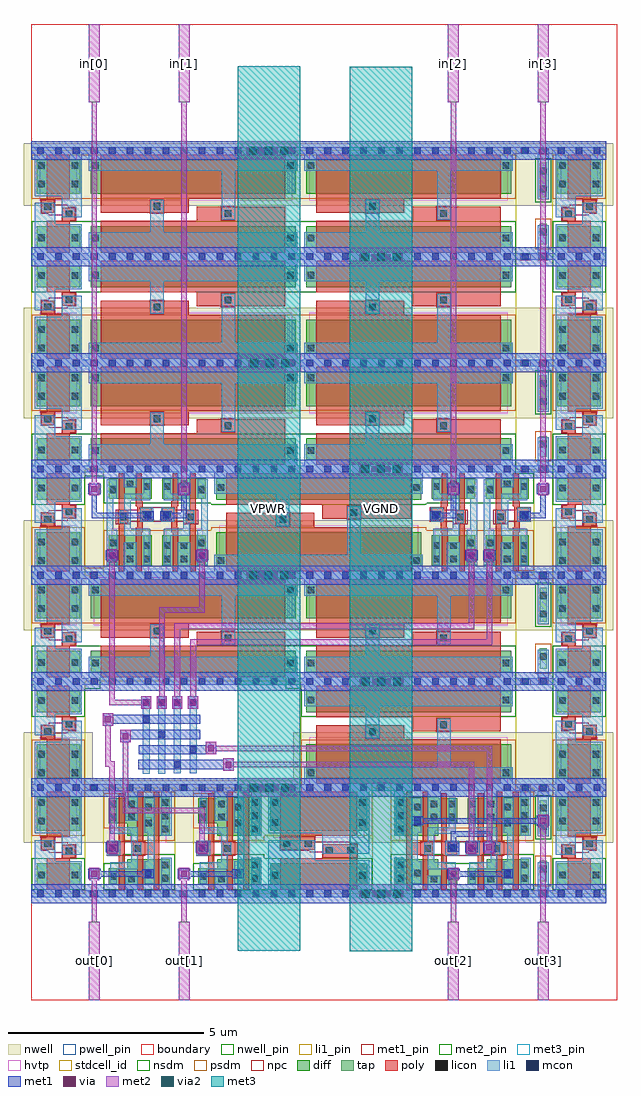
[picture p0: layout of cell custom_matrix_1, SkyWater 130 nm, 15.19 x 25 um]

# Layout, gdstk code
from math import pi, radians
import gdstk
lib = gdstk.Library(unit=1e-6, precision=1e-09)
def R(c, l, rs):  # rectangles x0, y0, x1, y1
    for r in rs: c.add(gdstk.rectangle(r[:2], r[2:], *l))
def A(c, l, x, y, w, h, nx, ny, dx, dy):  # array of equal rectangles
    R(c, l, [(x+i*dx, y+j*dy, x+i*dx+w, y+j*dy+h) for i in range(nx) for j in range(ny)])
nwell_pin = (64, 16)
nwell = (64, 20)
diff = (65, 20)
tap = (65, 44)
poly = (66, 20)
licon = (66, 44)
li1_pin = (67, 16)
li1 = (67, 20)
mcon = (67, 44)
met1_pin = (68, 16)
met1 = (68, 20)
via = (68, 44)
met2_pin = (69, 16)
met2 = (69, 20)
via2 = (69, 44)
met3_pin = (70, 16)
met3 = (70, 20)
hvtp = (78, 44)
stdcell_id = (81, 4)
nsdm = (93, 44)
psdm = (94, 20)
npc = (95, 20)
pwell_pin = (122, 16)
boundary = (235, 4)

sky130_fd_sc_hd__decap_3 = lib.new_cell('sky130_fd_sc_hd__decap_3')
R(sky130_fd_sc_hd__decap_3, nwell_pin, [(0.145,2.635,0.315,2.805)])
R(sky130_fd_sc_hd__decap_3, nwell, [(-0.19,1.305,1.57,2.91)])
R(sky130_fd_sc_hd__decap_3, diff, [(0.135,0.235,1.245,0.785), (0.135,1.615,1.245,2.485)])
R(sky130_fd_sc_hd__decap_3, poly, [(0.395,0.105,0.985,0.915), (0.795,0.915,0.985,0.925), (0.795,0.925,1.125,1.255), (0.255,1.125,0.585,1.455), (0.395,1.455,0.585,1.465), (0.395,1.465,0.985,2.615)])
R(sky130_fd_sc_hd__decap_3, licon, [(0.175,0.4,0.345,0.57), (1.035,0.4,1.205,0.57), (0.875,1.005,1.045,1.175), (0.335,1.205,0.505,1.375), (0.175,1.78,0.345,1.95), (1.035,1.78,1.205,1.95), (0.175,2.255,0.345,2.425), (1.035,2.255,1.205,2.425)])
R(sky130_fd_sc_hd__decap_3, li1, [(0,-0.085,1.38,0.085), (0.085,0.085,1.295,0.835), (0.085,0.835,0.605,1.375), (0.775,1.005,1.295,1.545), (0.085,1.545,1.295,2.635), (0,2.635,1.38,2.805)])
A(sky130_fd_sc_hd__decap_3, mcon, 0.145, -0.085, 0.17, 0.17, 3, 2, 0.46, 2.72)
R(sky130_fd_sc_hd__decap_3, met1_pin, [(0.145,-0.085,0.315,0.085), (0.145,2.635,0.315,2.805)])
R(sky130_fd_sc_hd__decap_3, met1, [(0,-0.24,1.38,0.24), (0,2.48,1.38,2.96)])
R(sky130_fd_sc_hd__decap_3, hvtp, [(0.215,1.435,1.165,2.665)])
R(sky130_fd_sc_hd__decap_3, stdcell_id, [(0,0,1.38,2.72)])
R(sky130_fd_sc_hd__decap_3, nsdm, [(0.01,0.11,1.37,0.91)])
R(sky130_fd_sc_hd__decap_3, psdm, [(0.01,1.49,1.37,2.61)])
R(sky130_fd_sc_hd__decap_3, npc, [(0.775,0.905,1.145,1.055), (0.445,1.055,1.145,1.105), (0.235,1.105,1.145,1.275), (0.235,1.275,0.935,1.325), (0.235,1.325,0.605,1.475)])
R(sky130_fd_sc_hd__decap_3, pwell_pin, [(0.145,-0.085,0.315,0.085)])
R(sky130_fd_sc_hd__decap_3, boundary, [(0,0,1.38,2.72)])
sky130_fd_sc_hd__decap_3.add(gdstk.Label('VPWR', (0.23,2.72), layer=68, texttype=5))
sky130_fd_sc_hd__decap_3.add(gdstk.Label('VGND', (0.23,0), layer=68, texttype=5))
sky130_fd_sc_hd__decap_3.add(gdstk.Label('VPB', (0.23,2.72), layer=64, texttype=5))
sky130_fd_sc_hd__decap_3.add(gdstk.Label('VNB', (0.23,0), layer=64, texttype=59))

sky130_fd_sc_hd__buf_2 = lib.new_cell('sky130_fd_sc_hd__buf_2')
R(sky130_fd_sc_hd__buf_2, nwell_pin, [(0.145,2.635,0.315,2.805)])
R(sky130_fd_sc_hd__buf_2, nwell, [(-0.19,1.305,2.03,2.91)])
R(sky130_fd_sc_hd__buf_2, diff, [(0.135,0.235,1.705,0.655), (0.62,0.655,1.705,0.885), (0.62,1.485,1.705,1.805), (0.135,1.805,1.705,2.445), (0.62,2.445,1.705,2.485)])
R(sky130_fd_sc_hd__buf_2, poly, [(0.395,0.105,0.545,0.995), (0.87,0.105,1.02,0.995), (1.29,0.105,1.44,0.995), (0.135,0.995,0.545,1.325), (0.755,0.995,1.44,1.325), (0.395,1.325,0.545,2.575), (0.87,1.325,1.02,2.615), (1.29,1.325,1.44,2.615)])
A(sky130_fd_sc_hd__buf_2, licon, 1.49, 1.575, 0.17, 0.17, 1, 3, 0, 0.34)
R(sky130_fd_sc_hd__buf_2, licon, [(0.64,0.295,0.81,0.465), (1.49,0.315,1.66,0.485), (0.175,0.36,0.345,0.53), (1.07,0.445,1.24,0.615), (1.49,0.655,1.66,0.825), (0.185,1.075,0.355,1.245), (0.805,1.075,0.975,1.245), (1.07,1.73,1.24,1.9), (0.175,1.875,0.345,2.045), (0.64,1.875,0.81,2.045), (1.07,2.135,1.24,2.305), (0.175,2.215,0.345,2.385), (0.64,2.215,0.81,2.385)])
R(sky130_fd_sc_hd__buf_2, li1_pin, [(0.145,-0.085,0.315,0.085), (1.06,0.425,1.23,0.595), (0.145,1.105,0.315,1.275), (1.06,1.785,1.23,1.955), (1.06,2.125,1.23,2.295), (0.145,2.635,0.315,2.805)])
R(sky130_fd_sc_hd__buf_2, li1, [(0,-0.085,1.84,0.085), (0.56,0.085,0.89,0.465), (1.49,0.085,1.75,0.925), (0.175,0.255,0.345,0.635), (1.06,0.255,1.315,0.83), (0.175,0.635,0.89,0.805), (0.72,0.805,0.89,0.995), (1.145,0.83,1.315,1.56), (0.085,0.985,0.44,1.355), (0.72,0.995,0.975,1.325), (0.72,1.325,0.89,1.535), (1.49,1.485,1.75,2.635), (0.175,1.535,0.89,1.705), (1.06,1.56,1.315,2.465), (0.175,1.705,0.345,2.465), (0.56,1.875,0.89,2.635), (0,2.635,1.84,2.805)])
A(sky130_fd_sc_hd__buf_2, mcon, 0.145, -0.085, 0.17, 0.17, 4, 2, 0.46, 2.72)
R(sky130_fd_sc_hd__buf_2, met1_pin, [(0.145,-0.085,0.315,0.085), (0.145,2.635,0.315,2.805)])
R(sky130_fd_sc_hd__buf_2, met1, [(0,-0.24,1.84,0.24), (0,2.48,1.84,2.96)])
R(sky130_fd_sc_hd__buf_2, hvtp, [(0.69,1.305,1.62,1.625), (0.215,1.625,1.62,2.625), (0.69,2.625,1.62,2.665)])
R(sky130_fd_sc_hd__buf_2, stdcell_id, [(0,0,1.84,2.72)])
R(sky130_fd_sc_hd__buf_2, nsdm, [(0.01,0.11,1.83,0.78), (0.495,0.78,1.83,1.01)])
R(sky130_fd_sc_hd__buf_2, psdm, [(0.495,1.36,1.83,1.68), (0.01,1.68,1.83,2.57), (0.495,2.57,1.83,2.61)])
R(sky130_fd_sc_hd__buf_2, npc, [(0.085,0.975,1.075,1.345)])
R(sky130_fd_sc_hd__buf_2, pwell_pin, [(0.145,-0.085,0.315,0.085)])
R(sky130_fd_sc_hd__buf_2, boundary, [(0,0,1.84,2.72)])
sky130_fd_sc_hd__buf_2.add(gdstk.Label('VPWR', (0.23,2.72), layer=67, texttype=5))
sky130_fd_sc_hd__buf_2.add(gdstk.Label('VPWR', (0.23,2.72), layer=68, texttype=5))
sky130_fd_sc_hd__buf_2.add(gdstk.Label('VGND', (0.23,0), layer=67, texttype=5))
sky130_fd_sc_hd__buf_2.add(gdstk.Label('VGND', (0.23,0), layer=68, texttype=5))
sky130_fd_sc_hd__buf_2.add(gdstk.Label('X', (1.145,2.21), layer=67, texttype=5))
sky130_fd_sc_hd__buf_2.add(gdstk.Label('X', (1.145,1.87), layer=67, texttype=5))
sky130_fd_sc_hd__buf_2.add(gdstk.Label('X', (1.145,0.51), layer=67, texttype=5))
sky130_fd_sc_hd__buf_2.add(gdstk.Label('A', (0.23,1.19), layer=67, texttype=5))
sky130_fd_sc_hd__buf_2.add(gdstk.Label('VPB', (0.23,2.72), layer=64, texttype=5))
sky130_fd_sc_hd__buf_2.add(gdstk.Label('VNB', (0.23,0), layer=64, texttype=59))

sky130_fd_sc_hd__fill_1 = lib.new_cell('sky130_fd_sc_hd__fill_1')
R(sky130_fd_sc_hd__fill_1, nwell_pin, [(0.155,2.67,0.255,2.755)])
R(sky130_fd_sc_hd__fill_1, nwell, [(-0.19,1.305,0.65,2.91)])
R(sky130_fd_sc_hd__fill_1, li1, [(0,-0.085,0.46,0.085), (0,2.635,0.46,2.805)])
R(sky130_fd_sc_hd__fill_1, mcon, [(0.145,-0.085,0.315,0.085), (0.145,2.635,0.315,2.805)])
R(sky130_fd_sc_hd__fill_1, met1_pin, [(0.11,-0.065,0.29,0.08), (0.11,2.635,0.29,2.785)])
R(sky130_fd_sc_hd__fill_1, met1, [(0,-0.24,0.46,0.24), (0,2.48,0.46,2.96)])
R(sky130_fd_sc_hd__fill_1, pwell_pin, [(0.14,-0.055,0.26,0.055)])
R(sky130_fd_sc_hd__fill_1, boundary, [(0,0,0.46,2.72)])
sky130_fd_sc_hd__fill_1.add(gdstk.Label('VPWR', (0.2,2.71), layer=68, texttype=5))
sky130_fd_sc_hd__fill_1.add(gdstk.Label('VGND', (0.2,0.007), layer=68, texttype=5))
sky130_fd_sc_hd__fill_1.add(gdstk.Label('VPB', (0.205,2.712), layer=64, texttype=5))
sky130_fd_sc_hd__fill_1.add(gdstk.Label('VNB', (0.2,0), layer=64, texttype=59))

sky130_fd_sc_hd__decap_6 = lib.new_cell('sky130_fd_sc_hd__decap_6')
R(sky130_fd_sc_hd__decap_6, nwell_pin, [(0.145,2.635,0.315,2.805)])
R(sky130_fd_sc_hd__decap_6, nwell, [(-0.19,1.305,2.95,2.91)])
R(sky130_fd_sc_hd__decap_6, diff, [(0.135,0.235,2.625,0.785), (0.135,1.615,2.625,2.485)])
R(sky130_fd_sc_hd__decap_6, poly, [(0.395,0.105,2.365,0.915), (1.485,0.915,2.365,1.275), (0.395,1.125,1.275,1.485), (0.395,1.485,2.365,2.615)])
R(sky130_fd_sc_hd__decap_6, licon, [(0.175,0.39,0.345,0.56), (2.415,0.39,2.585,0.56), (1.565,1.025,1.735,1.195), (2.115,1.025,2.285,1.195), (0.475,1.205,0.645,1.375), (1.025,1.205,1.195,1.375), (0.175,1.745,0.345,1.915), (2.415,1.745,2.585,1.915), (0.175,2.255,0.345,2.425), (2.415,2.255,2.585,2.425)])
R(sky130_fd_sc_hd__decap_6, li1, [(0,-0.085,2.76,0.085), (0.085,0.085,2.675,0.855), (0.085,0.855,1.295,1.375), (1.465,1.025,2.675,1.545), (0.085,1.545,2.675,2.635), (0,2.635,2.76,2.805)])
A(sky130_fd_sc_hd__decap_6, mcon, 0.145, -0.085, 0.17, 0.17, 6, 2, 0.46, 2.72)
R(sky130_fd_sc_hd__decap_6, met1_pin, [(0.145,-0.085,0.315,0.085), (0.145,2.635,0.315,2.805)])
R(sky130_fd_sc_hd__decap_6, met1, [(0,-0.24,2.76,0.24), (0,2.48,2.76,2.96)])
R(sky130_fd_sc_hd__decap_6, hvtp, [(0.215,1.435,2.545,2.665)])
R(sky130_fd_sc_hd__decap_6, stdcell_id, [(0,0,2.76,2.72)])
R(sky130_fd_sc_hd__decap_6, nsdm, [(0.01,0.11,2.75,0.91)])
R(sky130_fd_sc_hd__decap_6, psdm, [(0.01,1.49,2.75,2.61)])
R(sky130_fd_sc_hd__decap_6, npc, [(1.465,0.925,2.385,1.065), (1.15,1.065,2.385,1.105), (0.375,1.105,2.385,1.295), (0.375,1.295,2.16,1.335), (0.375,1.335,1.295,1.475)])
R(sky130_fd_sc_hd__decap_6, pwell_pin, [(0.145,-0.085,0.315,0.085)])
R(sky130_fd_sc_hd__decap_6, boundary, [(0,0,2.76,2.72)])
sky130_fd_sc_hd__decap_6.add(gdstk.Label('VPWR', (0.23,2.72), layer=68, texttype=5))
sky130_fd_sc_hd__decap_6.add(gdstk.Label('VGND', (0.23,0), layer=68, texttype=5))
sky130_fd_sc_hd__decap_6.add(gdstk.Label('VPB', (0.23,2.72), layer=64, texttype=5))
sky130_fd_sc_hd__decap_6.add(gdstk.Label('VNB', (0.23,0), layer=64, texttype=59))

sky130_ef_sc_hd__decap_1 = lib.new_cell('sky130_ef_sc_hd__decap_12')
R(sky130_ef_sc_hd__decap_1, nwell_pin, [(0.145,2.635,0.315,2.805)])
R(sky130_ef_sc_hd__decap_1, nwell, [(-0.19,1.305,5.71,2.91)])
R(sky130_ef_sc_hd__decap_1, diff, [(0.135,0.235,5.385,0.785), (0.135,1.615,5.385,2.485)])
R(sky130_ef_sc_hd__decap_1, poly, [(0.395,0.105,5.125,0.915), (2.855,0.915,5.125,1.275), (0.395,1.125,2.645,1.485), (0.395,1.485,5.125,2.615)])
R(sky130_ef_sc_hd__decap_1, licon, [(0.175,0.39,0.345,0.56), (5.175,0.39,5.345,0.56), (3.575,1.025,3.745,1.195), (1.755,1.205,1.925,1.375), (0.175,2.255,0.345,2.425), (5.175,2.255,5.345,2.425)])
R(sky130_ef_sc_hd__decap_1, li1, [(0,-0.085,5.52,0.085), (0.085,0.085,5.43,0.63), (1.67,0.63,2.01,1.46), (3.49,0.95,3.84,2.2), (0.085,2.2,5.43,2.635), (0,2.635,5.52,2.805)])
A(sky130_ef_sc_hd__decap_1, mcon, 0.145, -0.085, 0.17, 0.17, 12, 2, 0.46, 2.72)
R(sky130_ef_sc_hd__decap_1, met1_pin, [(0.145,-0.085,0.315,0.085), (0.145,2.635,0.315,2.805)])
R(sky130_ef_sc_hd__decap_1, met1, [(0,-0.24,5.52,0.24), (0,2.48,5.52,2.96)])
R(sky130_ef_sc_hd__decap_1, hvtp, [(0.215,1.435,5.305,2.665)])
R(sky130_ef_sc_hd__decap_1, stdcell_id, [(0,0,5.52,2.72)])
R(sky130_ef_sc_hd__decap_1, nsdm, [(0.01,0.11,5.51,0.91)])
R(sky130_ef_sc_hd__decap_1, psdm, [(0.01,1.49,5.51,2.61)])
R(sky130_ef_sc_hd__decap_1, npc, [(3.475,0.925,3.845,1.295), (1.655,1.105,2.025,1.475)])
R(sky130_ef_sc_hd__decap_1, pwell_pin, [(0.145,-0.085,0.315,0.085)])
R(sky130_ef_sc_hd__decap_1, boundary, [(0,0,5.52,2.72)])
sky130_ef_sc_hd__decap_1.add(gdstk.Label('VGND', (0.23,0), layer=68, texttype=5))
sky130_ef_sc_hd__decap_1.add(gdstk.Label('VPWR', (0.23,2.72), layer=68, texttype=5))
sky130_ef_sc_hd__decap_1.add(gdstk.Label('VPB', (0.23,2.72), layer=64, texttype=5))
sky130_ef_sc_hd__decap_1.add(gdstk.Label('VNB', (0.23,0), layer=64, texttype=59))

sky130_fd_sc_hd__fill_2 = lib.new_cell('sky130_fd_sc_hd__fill_2')
R(sky130_fd_sc_hd__fill_2, nwell_pin, [(0.14,2.675,0.31,2.765)])
R(sky130_fd_sc_hd__fill_2, nwell, [(-0.19,1.305,1.11,2.91)])
R(sky130_fd_sc_hd__fill_2, li1, [(0,-0.085,0.92,0.085), (0,2.635,0.92,2.805)])
R(sky130_fd_sc_hd__fill_2, mcon, [(0.145,-0.085,0.315,0.085), (0.605,-0.085,0.775,0.085), (0.145,2.635,0.315,2.805), (0.605,2.635,0.775,2.805)])
R(sky130_fd_sc_hd__fill_2, met1_pin, [(0.1,-0.07,0.365,0.09), (0.105,2.65,0.365,2.805)])
R(sky130_fd_sc_hd__fill_2, met1, [(0,-0.24,0.92,0.24), (0,2.48,0.92,2.96)])
R(sky130_fd_sc_hd__fill_2, pwell_pin, [(0.155,-0.05,0.315,0.06)])
R(sky130_fd_sc_hd__fill_2, boundary, [(0,0,0.92,2.72)])
sky130_fd_sc_hd__fill_2.add(gdstk.Label('VGND', (0.232,0.01), layer=68, texttype=5))
sky130_fd_sc_hd__fill_2.add(gdstk.Label('VPWR', (0.235,2.727), layer=68, texttype=5))
sky130_fd_sc_hd__fill_2.add(gdstk.Label('VPB', (0.225,2.72), layer=64, texttype=5))
sky130_fd_sc_hd__fill_2.add(gdstk.Label('VNB', (0.235,0.005), layer=64, texttype=59))

sky130_fd_sc_hd__tapvpwr = lib.new_cell('sky130_fd_sc_hd__tapvpwrvgnd_1')
R(sky130_fd_sc_hd__tapvpwr, nwell, [(-0.19,1.305,0.65,2.91)])
R(sky130_fd_sc_hd__tapvpwr, tap, [(0.145,0.32,0.315,0.845), (0.145,1.525,0.315,2.4)])
R(sky130_fd_sc_hd__tapvpwr, licon, [(0.145,0.555,0.315,0.725), (0.145,1.645,0.315,1.815), (0.145,2.11,0.315,2.28)])
R(sky130_fd_sc_hd__tapvpwr, li1, [(0,-0.085,0.46,0.085), (0.085,0.085,0.375,0.81), (0.085,1.47,0.375,2.635), (0,2.635,0.46,2.805)])
R(sky130_fd_sc_hd__tapvpwr, mcon, [(0.145,-0.085,0.315,0.085), (0.145,2.635,0.315,2.805)])
R(sky130_fd_sc_hd__tapvpwr, met1_pin, [(0.105,-0.09,0.36,0.1), (0.11,2.62,0.375,2.765)])
R(sky130_fd_sc_hd__tapvpwr, met1, [(0,-0.24,0.46,0.24), (0,2.48,0.46,2.96)])
R(sky130_fd_sc_hd__tapvpwr, nsdm, [(0.02,1.4,0.44,2.525)])
R(sky130_fd_sc_hd__tapvpwr, psdm, [(0.02,0.195,0.44,0.97)])
R(sky130_fd_sc_hd__tapvpwr, boundary, [(0,0,0.46,2.72)])
sky130_fd_sc_hd__tapvpwr.add(gdstk.Label('VPWR', (0.242,2.692), layer=68, texttype=5))
sky130_fd_sc_hd__tapvpwr.add(gdstk.Label('VGND', (0.232,0.005), layer=68, texttype=5))

sky130_fd_sc_hd__clkbuf_ = lib.new_cell('sky130_fd_sc_hd__clkbuf_1')
R(sky130_fd_sc_hd__clkbuf_, nwell_pin, [(1.065,2.635,1.235,2.805)])
R(sky130_fd_sc_hd__clkbuf_, nwell, [(-0.19,1.305,1.57,2.91)])
R(sky130_fd_sc_hd__clkbuf_, diff, [(0.135,0.235,1.245,0.755), (0.135,1.695,1.245,2.485)])
R(sky130_fd_sc_hd__clkbuf_, poly, [(0.395,0.105,0.545,1.06), (0.835,0.105,0.985,0.83), (0.835,0.83,1.015,0.95), (0.865,0.95,1.015,0.995), (0.865,0.995,1.245,1.325), (0.375,1.06,0.645,1.39), (0.865,1.325,1.015,1.5), (0.395,1.39,0.545,2.615), (0.835,1.5,1.015,1.62), (0.835,1.62,0.985,2.615)])
A(sky130_fd_sc_hd__clkbuf_, licon, 0.175, 2.215, 0.17, 0.17, 3, 1, 0.43, 0)
R(sky130_fd_sc_hd__clkbuf_, licon, [(0.605,0.295,0.775,0.465), (1.035,0.36,1.205,0.53), (0.175,0.445,0.345,0.615), (1.025,1.075,1.195,1.245), (0.425,1.14,0.595,1.31), (0.175,1.81,0.345,1.98), (0.605,1.875,0.775,2.045), (1.035,1.875,1.205,2.045)])
R(sky130_fd_sc_hd__clkbuf_, li1_pin, [(0.145,0.425,0.315,0.595), (1.065,1.105,1.235,1.275), (0.145,1.785,0.315,1.955), (0.145,2.125,0.315,2.295)])
R(sky130_fd_sc_hd__clkbuf_, li1, [(0,-0.085,1.38,0.085), (0.525,0.085,0.855,0.465), (0.085,0.255,0.345,0.76), (1.035,0.255,1.205,0.635), (0.54,0.635,1.205,0.805), (0.085,0.76,0.255,1.56), (0.54,0.805,0.71,1.06), (0.945,0.985,1.275,1.355), (0.425,1.06,0.71,1.39), (0.54,1.39,0.71,1.535), (0.54,1.535,1.205,1.705), (0.085,1.56,0.355,2.465), (1.035,1.705,1.205,2.465), (0.525,1.875,0.855,2.635), (0,2.635,1.38,2.805)])
A(sky130_fd_sc_hd__clkbuf_, mcon, 0.145, -0.085, 0.17, 0.17, 3, 2, 0.46, 2.72)
R(sky130_fd_sc_hd__clkbuf_, met1_pin, [(1.065,-0.085,1.235,0.085), (1.065,2.635,1.235,2.805)])
R(sky130_fd_sc_hd__clkbuf_, met1, [(0,-0.24,1.38,0.24), (0,2.48,1.38,2.96)])
R(sky130_fd_sc_hd__clkbuf_, hvtp, [(0.215,1.515,1.165,2.665)])
R(sky130_fd_sc_hd__clkbuf_, stdcell_id, [(0,0,1.38,2.72)])
R(sky130_fd_sc_hd__clkbuf_, nsdm, [(0.01,0.11,1.37,0.88)])
R(sky130_fd_sc_hd__clkbuf_, psdm, [(0.01,1.57,1.37,2.61)])
R(sky130_fd_sc_hd__clkbuf_, npc, [(0.925,0.975,1.295,1.04), (0.325,1.04,1.295,1.345), (0.325,1.345,0.695,1.41)])
R(sky130_fd_sc_hd__clkbuf_, pwell_pin, [(1.065,-0.085,1.235,0.085)])
R(sky130_fd_sc_hd__clkbuf_, boundary, [(0,0,1.38,2.72)])
sky130_fd_sc_hd__clkbuf_.add(gdstk.Label('VGND', (1.15,0), layer=68, texttype=5))
sky130_fd_sc_hd__clkbuf_.add(gdstk.Label('VPWR', (1.15,2.72), layer=68, texttype=5))
sky130_fd_sc_hd__clkbuf_.add(gdstk.Label('X', (0.23,2.21), layer=67, texttype=5))
sky130_fd_sc_hd__clkbuf_.add(gdstk.Label('X', (0.23,1.87), layer=67, texttype=5))
sky130_fd_sc_hd__clkbuf_.add(gdstk.Label('X', (0.23,0.51), layer=67, texttype=5))
sky130_fd_sc_hd__clkbuf_.add(gdstk.Label('A', (1.15,1.19), layer=67, texttype=5))
sky130_fd_sc_hd__clkbuf_.add(gdstk.Label('VPB', (1.15,2.72), layer=64, texttype=5))
sky130_fd_sc_hd__clkbuf_.add(gdstk.Label('VNB', (1.15,0), layer=64, texttype=59))

custom_matrix_1 = lib.new_cell('custom_matrix_1')
R(custom_matrix_1, li1, [(2.905,3.145,3.075,3.315), (12.105,3.145,12.275,3.315), (1.985,3.825,2.155,3.995), (4.285,3.825,4.455,3.995), (10.725,3.825,10.895,3.995), (11.185,3.825,11.355,3.995), (9.805,4.505,9.975,4.675), (2.85,5.8,3.03,7.71), (3.25,5.8,3.43,7.71), (3.65,5.81,3.83,7.71), (4.05,5.81,4.23,7.71), (1.985,11.305,2.155,11.475), (4.285,11.305,4.455,11.475), (11.185,11.305,11.355,11.475), (11.645,11.305,11.815,11.475), (2.905,12.325,3.075,12.495), (3.365,12.325,3.535,12.495), (10.265,12.325,10.435,12.495), (12.565,12.325,12.735,12.495)])
A(custom_matrix_1, mcon, 2.855, 7.535, 0.17, 0.17, 4, 1, 0.4, 0)
R(custom_matrix_1, mcon, [(2.905,3.145,3.075,3.315), (12.105,3.145,12.275,3.315), (1.985,3.825,2.155,3.995), (4.285,3.825,4.455,3.995), (10.725,3.825,10.895,3.995), (11.185,3.825,11.355,3.995), (9.805,4.505,9.975,4.675), (3.655,5.945,3.825,6.115), (4.055,6.325,4.225,6.495), (3.255,6.715,3.425,6.885), (2.855,7.105,3.025,7.275), (1.985,11.305,2.155,11.475), (4.285,11.305,4.455,11.475), (11.185,11.305,11.355,11.475), (11.645,11.305,11.815,11.475), (2.905,12.325,3.075,12.495), (3.365,12.325,3.535,12.495), (10.265,12.325,10.435,12.495), (12.565,12.325,12.735,12.495)])
A(custom_matrix_1, met1, 0, 2.48, 14.72, 0.48, 1, 8, 0, 2.72)
A(custom_matrix_1, met1, 2.81, 7.46, 0.26, 0.32, 4, 1, 0.4, 0)
R(custom_matrix_1, met1, [(1.45,3.1,1.77,3.16), (3.75,3.1,4.07,3.16), (10.65,3.1,10.97,3.16), (2.845,3.115,3.135,3.16), (5.145,3.115,5.435,3.16), (12.045,3.115,12.335,3.16), (1.45,3.16,3.135,3.3), (3.75,3.16,5.435,3.3), (10.65,3.16,12.335,3.3), (1.45,3.3,1.77,3.36), (2.845,3.3,3.135,3.345), (3.75,3.3,4.07,3.36), (5.145,3.3,5.435,3.345), (10.65,3.3,10.97,3.36), (12.045,3.3,12.335,3.345), (1.91,3.78,2.23,4.04), (4.21,3.78,4.53,4.04), (11.11,3.78,11.43,4.04), (11.57,3.78,11.89,4.04), (10.665,3.795,10.955,4.025), (10.74,4.025,10.88,4.18), (11.66,4.04,11.8,4.18), (10.74,4.18,11.8,4.32), (12.95,4.46,13.27,4.52), (9.745,4.475,10.035,4.52), (9.745,4.52,13.27,4.66), (9.745,4.66,10.035,4.705), (12.95,4.66,13.27,4.72), (4.92,5.87,5.18,5.91), (2.74,5.91,5.18,6.15), (4.92,6.15,5.18,6.19), (2.75,6.29,4.73,6.53), (4.47,6.53,4.73,6.61), (2.28,6.6,2.54,6.68), (2.28,6.68,4.33,6.92), (1.83,7.03,2.09,7.07), (1.83,7.07,4.33,7.31), (1.83,7.31,2.09,7.35), (1.91,11.26,2.23,11.52), (4.21,11.26,4.53,11.52), (11.11,11.26,11.43,11.52), (11.57,11.26,11.89,11.52), (2.845,12.295,3.135,12.34), (3.305,12.295,3.595,12.34), (10.205,12.295,10.495,12.34), (12.505,12.295,12.795,12.34), (1.54,12.34,3.135,12.48), (3.305,12.34,3.98,12.48), (10.205,12.34,10.88,12.48), (12.505,12.34,13.18,12.48), (1.54,12.48,1.68,12.96), (2.845,12.48,3.135,12.525), (3.305,12.48,3.595,12.525), (3.84,12.48,3.98,12.96), (10.205,12.48,10.495,12.525), (10.74,12.48,10.88,12.96), (12.505,12.48,12.795,12.525), (13.04,12.48,13.18,12.96), (1.45,12.96,1.77,13.22), (3.75,12.96,4.07,13.22), (10.65,12.96,10.97,13.22), (12.95,12.96,13.27,13.22)])
A(custom_matrix_1, via, 8.41, 2.645, 0.15, 0.15, 4, 2, 0.32, 5.43)
A(custom_matrix_1, via, 5.54, 5.365, 0.15, 0.15, 4, 1, 0.32, 0)
A(custom_matrix_1, via, 2.865, 7.545, 0.15, 0.15, 4, 1, 0.4, 0)
A(custom_matrix_1, via, 5.52, 10.805, 0.15, 0.15, 4, 2, 0.32, 10.87)
A(custom_matrix_1, via, 8.4, 13.525, 0.15, 0.15, 4, 2, 0.32, 5.43)
A(custom_matrix_1, via, 5.55, 16.235, 0.15, 0.15, 4, 1, 0.32, 0)
R(custom_matrix_1, via, [(1.535,3.155,1.685,3.305), (3.835,3.155,3.985,3.305), (10.735,3.155,10.885,3.305), (1.995,3.835,2.145,3.985), (4.295,3.835,4.445,3.985), (11.195,3.835,11.345,3.985), (11.655,3.835,11.805,3.985), (13.035,4.515,13.185,4.665), (4.975,5.955,5.125,6.105), (4.525,6.375,4.675,6.525), (2.335,6.685,2.485,6.835), (1.885,7.115,2.035,7.265), (1.995,11.315,2.145,11.465), (4.295,11.315,4.445,11.465), (11.195,11.315,11.345,11.465), (11.655,11.315,11.805,11.465), (1.535,13.015,1.685,13.165), (3.835,13.015,3.985,13.165), (10.735,13.015,10.885,13.165), (13.035,13.015,13.185,13.165)])
R(custom_matrix_1, met2_pin, [(1.47,0,1.75,2), (3.77,0,4.05,2), (10.67,0,10.95,2), (12.97,0,13.25,2), (1.47,23,1.75,25), (3.77,23,4.05,25), (10.67,23,10.95,25), (12.97,23,13.25,25)])
A(custom_matrix_1, met2, 8.16, 2.48, 1.6, 0.48, 1, 3, 0, 5.44)
A(custom_matrix_1, met2, 3.21, 7.46, 0.26, 0.32, 3, 1, 0.4, 0)
R(custom_matrix_1, met2, [(1.47,0,1.75,2), (3.77,0,4.05,2), (10.67,0,10.95,2), (12.97,0,13.25,2), (1.54,2,1.68,3.07), (3.84,2,3.98,3.07), (10.74,2,10.88,3.07), (13.04,2,13.18,4.43), (1.48,3.07,1.74,3.39), (3.78,3.07,4.04,3.39), (10.68,3.07,10.94,3.39), (1.94,3.75,2.2,4.07), (4.24,3.75,4.5,4.07), (11.14,3.75,11.4,4.07), (11.6,3.75,11.86,4.07), (2,4.07,2.14,5.98), (4.3,4.07,4.44,4.78), (11.2,4.07,11.34,5.95), (11.66,4.07,11.8,6.37), (12.98,4.43,13.24,4.75), (2.34,4.78,4.44,4.92), (2.34,4.92,2.48,6.6), (5.29,5.2,6.89,5.68), (4.92,5.87,5.18,5.96), (11.19,5.95,11.34,5.96), (4.92,5.96,11.34,6.1), (1.89,5.98,2.14,6.12), (4.92,6.1,5.18,6.19), (1.89,6.12,2.03,7.03), (4.47,6.29,4.73,6.37), (4.47,6.37,11.8,6.51), (4.47,6.51,4.73,6.61), (2.28,6.6,2.54,6.92), (1.83,7.03,2.09,7.35), (2.81,7.46,3.07,7.55), (2,7.55,3.07,7.69), (2,7.69,2.14,11.23), (2.81,7.69,3.07,7.78), (3.27,7.78,3.41,9.92), (3.66,7.78,3.81,9.5), (4.07,7.78,4.22,9.09), (4.07,9.09,11.81,9.24), (11.66,9.24,11.8,11.23), (3.66,9.5,11.34,9.65), (11.2,9.65,11.34,11.23), (3.27,9.92,4.44,10.06), (4.3,10.06,4.44,11.23), (5.29,10.64,6.89,11.12), (1.94,11.23,2.2,11.55), (4.24,11.23,4.5,11.55), (11.14,11.23,11.4,11.55), (11.6,11.23,11.86,11.55), (1.48,12.93,1.74,13.25), (3.78,12.93,4.04,13.25), (10.68,12.93,10.94,13.25), (12.98,12.93,13.24,13.25), (1.54,13.25,1.68,23), (3.84,13.25,3.98,23), (10.74,13.25,10.88,23), (13.04,13.25,13.18,23), (5.29,16.08,6.9,16.56), (8.15,18.8,9.76,19.28), (5.29,21.52,6.88,22), (1.47,23,1.75,25), (3.77,23,4.05,25), (10.67,23,10.95,25), (12.97,23,13.25,25)])
A(custom_matrix_1, via2, 8.465, 2.62, 0.2, 0.2, 3, 2, 0.4, 5.43)
A(custom_matrix_1, via2, 5.595, 5.34, 0.2, 0.2, 3, 1, 0.4, 0)
A(custom_matrix_1, via2, 5.575, 10.78, 0.2, 0.2, 3, 2, 0.4, 10.87)
A(custom_matrix_1, via2, 8.455, 13.5, 0.2, 0.2, 3, 2, 0.4, 5.43)
A(custom_matrix_1, via2, 5.605, 16.21, 0.2, 0.2, 3, 1, 0.4, 0)
R(custom_matrix_1, met3_pin, [(8.16,1.25,9.75,23.91), (5.29,1.26,6.88,23.92)])
R(custom_matrix_1, met3, [(8.16,1.25,9.75,23.91), (5.29,1.26,6.88,23.92)])
A(custom_matrix_1, hvtp, 0.215, 5.385, 0.95, 0.11, 1, 3, 0, 5.44)
A(custom_matrix_1, hvtp, 13.555, 5.385, 0.95, 0.11, 1, 3, 0, 5.44)
R(custom_matrix_1, hvtp, [(10.35,5.345,10.825,5.385), (11.255,5.345,11.73,5.385), (7.115,5.385,8.525,5.495), (9.42,5.385,10.825,5.495), (11.255,5.385,12.205,5.495), (2.055,10.825,3.005,10.935), (3.435,10.825,4.385,10.935), (4.815,10.825,6.685,10.935), (7.115,10.825,9.905,10.935), (10.335,10.825,11.285,10.935), (11.715,10.825,12.205,10.935), (1.595,16.265,6.685,16.375), (7.115,16.265,12.205,16.375)])
A(custom_matrix_1, nsdm, 13.35, 8.05, 1.36, 0.22, 1, 3, 0, 5.44)
R(custom_matrix_1, nsdm, [(5.97,2.83,5.99,3.63), (11.03,2.83,11.05,3.5), (1.37,7.97,1.765,8.05), (6.515,7.97,6.91,8.05), (0.01,8.05,1.765,8.27), (6.515,8.05,12.41,8.27), (1.37,8.27,1.39,9.07), (6.89,8.27,6.91,9.07), (3.21,12.72,3.23,13.49), (4.59,12.72,4.61,13.49), (10.11,12.72,10.13,13.49), (11.49,12.72,11.51,13.49), (1.37,13.41,1.85,13.49), (0.01,13.49,12.41,13.71), (1.37,13.71,1.39,14.51), (6.89,13.71,6.91,14.51), (1.37,18.13,1.39,18.93), (6.89,18.13,6.91,18.93), (0.01,18.93,12.41,19.15), (1.37,19.15,1.39,19.95), (6.89,19.15,6.91,19.95)])
A(custom_matrix_1, psdm, 13.35, 5.33, 1.36, 0.22, 1, 3, 0, 5.44)
R(custom_matrix_1, psdm, [(5.97,4.21,5.99,5.33), (11.03,4.4,11.05,5.29), (10.545,5.29,11.535,5.33), (0.01,5.33,1.37,5.55), (6.91,5.33,8.73,5.55), (9.21,5.33,12.41,5.55), (1.37,9.65,1.39,10.77), (6.89,9.65,6.91,10.77), (0.01,10.77,12.41,10.99), (1.37,10.99,1.85,11.07), (3.21,10.99,3.23,12.03), (4.59,10.99,4.61,12.03), (10.11,10.99,10.13,12.03), (11.49,10.99,11.51,12.03), (1.37,15.09,1.39,16.21), (6.89,15.09,6.91,16.21), (0.01,16.21,12.41,16.43), (1.37,16.43,1.39,17.55), (6.89,16.43,6.91,17.55), (1.37,20.53,1.39,21.65), (6.89,20.53,6.91,21.65)])
R(custom_matrix_1, npc, [(10.955,3.695,11.125,4.065), (3.135,12.255,3.305,12.625)])
R(custom_matrix_1, boundary, [(0,0,15,25)])
custom_matrix_1.add(gdstk.Reference(sky130_fd_sc_hd__decap_3, (0,2.72)))
custom_matrix_1.add(gdstk.Reference(sky130_fd_sc_hd__decap_3, (0,8.16), x_reflection=True))
custom_matrix_1.add(gdstk.Reference(sky130_fd_sc_hd__buf_2, (1.84,2.72)))
custom_matrix_1.add(gdstk.Reference(sky130_fd_sc_hd__buf_2, (4.14,2.72)))
custom_matrix_1.add(gdstk.Reference(sky130_fd_sc_hd__fill_1, (3.68,2.72)))
custom_matrix_1.add(gdstk.Reference(sky130_fd_sc_hd__fill_1, (1.38,2.72)))
custom_matrix_1.add(gdstk.Reference(sky130_fd_sc_hd__decap_6, (5.98,2.72)))
custom_matrix_1.add(gdstk.Reference(sky130_ef_sc_hd__decap_1, (6.9,8.16), x_reflection=True))
custom_matrix_1.add(gdstk.Reference(sky130_fd_sc_hd__buf_2, (11.04,2.72)))
custom_matrix_1.add(gdstk.Reference(sky130_fd_sc_hd__buf_2, (11.04,2.72), rotation=pi, x_reflection=True))
custom_matrix_1.add(gdstk.Reference(sky130_fd_sc_hd__fill_1, (8.74,2.72)))
custom_matrix_1.add(gdstk.Reference(sky130_fd_sc_hd__fill_2, (12.42,8.16), x_reflection=True))
custom_matrix_1.add(gdstk.Reference(sky130_fd_sc_hd__tapvpwr, (12.88,2.72)))
custom_matrix_1.add(gdstk.Reference(sky130_fd_sc_hd__decap_3, (14.72,2.72), rotation=pi, x_reflection=True))
custom_matrix_1.add(gdstk.Reference(sky130_fd_sc_hd__decap_3, (14.72,8.16), rotation=pi))
custom_matrix_1.add(gdstk.Reference(sky130_ef_sc_hd__decap_1, (1.38,8.16)))
custom_matrix_1.add(gdstk.Reference(sky130_fd_sc_hd__decap_3, (0,8.16)))
custom_matrix_1.add(gdstk.Reference(sky130_ef_sc_hd__decap_1, (6.9,8.16)))
custom_matrix_1.add(gdstk.Reference(sky130_fd_sc_hd__tapvpwr, (12.88,8.16)))
custom_matrix_1.add(gdstk.Reference(sky130_fd_sc_hd__decap_3, (14.72,8.16), rotation=pi, x_reflection=True))
custom_matrix_1.add(gdstk.Reference(sky130_fd_sc_hd__fill_1, (12.42,8.16)))
custom_matrix_1.add(gdstk.Reference(sky130_fd_sc_hd__clkbuf_, (1.84,13.6), x_reflection=True))
custom_matrix_1.add(gdstk.Reference(sky130_fd_sc_hd__clkbuf_, (4.6,13.6), rotation=pi))
custom_matrix_1.add(gdstk.Reference(sky130_ef_sc_hd__decap_1, (4.6,13.6), x_reflection=True))
custom_matrix_1.add(gdstk.Reference(sky130_fd_sc_hd__decap_3, (0,13.6), x_reflection=True))
custom_matrix_1.add(gdstk.Reference(sky130_fd_sc_hd__fill_1, (1.38,13.6), x_reflection=True))
custom_matrix_1.add(gdstk.Reference(sky130_fd_sc_hd__clkbuf_, (11.5,13.6), rotation=pi))
custom_matrix_1.add(gdstk.Reference(sky130_fd_sc_hd__clkbuf_, (11.5,13.6), x_reflection=True))
custom_matrix_1.add(gdstk.Reference(sky130_fd_sc_hd__decap_3, (14.72,13.6), rotation=pi))
custom_matrix_1.add(gdstk.Reference(sky130_fd_sc_hd__fill_1, (12.88,13.6), x_reflection=True))
custom_matrix_1.add(gdstk.Reference(sky130_ef_sc_hd__decap_1, (1.38,13.6)))
custom_matrix_1.add(gdstk.Reference(sky130_fd_sc_hd__decap_3, (0,13.6)))
custom_matrix_1.add(gdstk.Reference(sky130_ef_sc_hd__decap_1, (6.9,13.6)))
custom_matrix_1.add(gdstk.Reference(sky130_fd_sc_hd__tapvpwr, (12.88,13.6)))
custom_matrix_1.add(gdstk.Reference(sky130_fd_sc_hd__decap_3, (14.72,13.6), rotation=pi, x_reflection=True))
custom_matrix_1.add(gdstk.Reference(sky130_fd_sc_hd__fill_1, (12.42,13.6)))
custom_matrix_1.add(gdstk.Reference(sky130_ef_sc_hd__decap_1, (1.38,19.04), x_reflection=True))
custom_matrix_1.add(gdstk.Reference(sky130_fd_sc_hd__decap_3, (0,19.04), x_reflection=True))
custom_matrix_1.add(gdstk.Reference(sky130_ef_sc_hd__decap_1, (6.9,19.04), x_reflection=True))
custom_matrix_1.add(gdstk.Reference(sky130_fd_sc_hd__fill_2, (12.42,19.04), x_reflection=True))
custom_matrix_1.add(gdstk.Reference(sky130_fd_sc_hd__decap_3, (14.72,19.04), rotation=pi))
custom_matrix_1.add(gdstk.Reference(sky130_ef_sc_hd__decap_1, (1.38,19.04)))
custom_matrix_1.add(gdstk.Reference(sky130_fd_sc_hd__decap_3, (0,19.04)))
custom_matrix_1.add(gdstk.Reference(sky130_ef_sc_hd__decap_1, (6.9,19.04)))
custom_matrix_1.add(gdstk.Reference(sky130_fd_sc_hd__tapvpwr, (12.88,19.04)))
custom_matrix_1.add(gdstk.Reference(sky130_fd_sc_hd__decap_3, (14.72,19.04), rotation=pi, x_reflection=True))
custom_matrix_1.add(gdstk.Reference(sky130_fd_sc_hd__fill_1, (12.42,19.04)))
custom_matrix_1.add(gdstk.Label('in[0]', (1.61,24), layer=69, texttype=5))
custom_matrix_1.add(gdstk.Label('in[1]', (3.91,24), layer=69, texttype=5))
custom_matrix_1.add(gdstk.Label('in[2]', (10.81,24), layer=69, texttype=5))
custom_matrix_1.add(gdstk.Label('in[3]', (13.11,24), layer=69, texttype=5))
custom_matrix_1.add(gdstk.Label('out[0]', (1.61,1), layer=69, texttype=5))
custom_matrix_1.add(gdstk.Label('out[1]', (3.91,1), layer=69, texttype=5))
custom_matrix_1.add(gdstk.Label('out[2]', (10.81,1), layer=69, texttype=5))
custom_matrix_1.add(gdstk.Label('out[3]', (13.11,1), layer=69, texttype=5))
custom_matrix_1.add(gdstk.Label('VPWR', (6.085,12.59), layer=70, texttype=5))
custom_matrix_1.add(gdstk.Label('VGND', (8.955,12.58), layer=70, texttype=5))

lib.write_gds('custom_matrix_1.gds')
